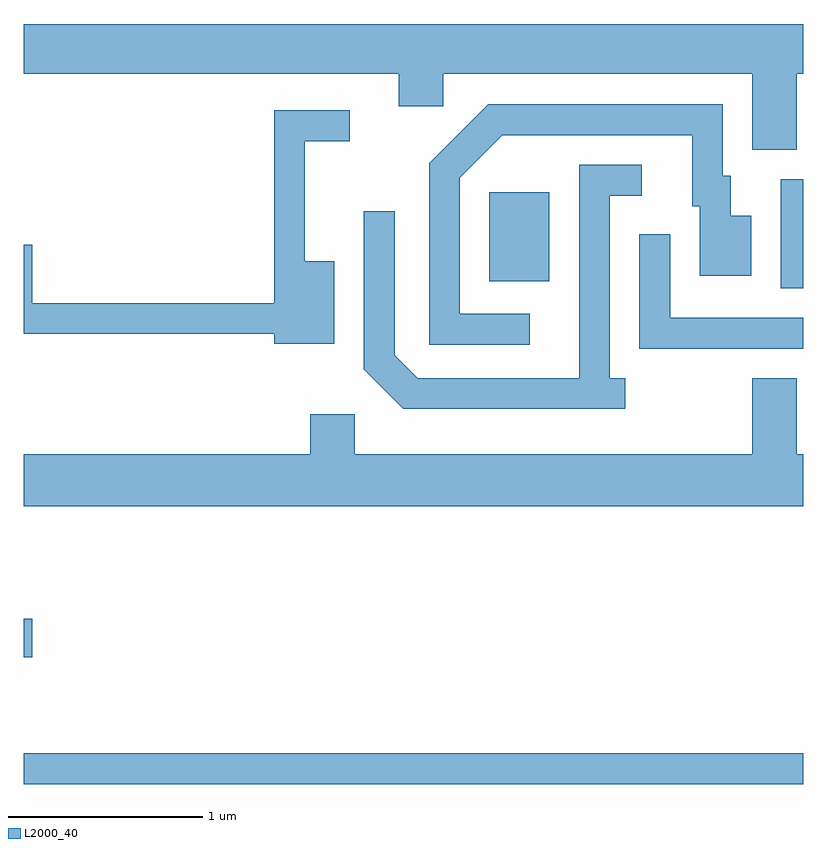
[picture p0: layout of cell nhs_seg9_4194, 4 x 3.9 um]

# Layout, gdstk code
import gdstk
lib = gdstk.Library(unit=1e-6, precision=1e-09)
def R(c, l, rs):  # rectangles x0, y0, x1, y1
    for r in rs: c.add(gdstk.rectangle(r[:2], r[2:], *l))
def P(c, l, *ps):  # polygons
    for p in ps: c.add(gdstk.Polygon(p, *l))
L2000_40 = (2000, 40)

nhs_seg9_4194 = lib.new_cell('nhs_seg9_4194')
R(nhs_seg9_4194, L2000_40, [(307.611,2072.531,311.611,2072.689), (307.611,2073.181,307.654,2073.379), (311.496,2075.076,311.611,2075.634), (310.001,2075.111,310.309,2075.569)])
P(nhs_seg9_4194, L2000_40, [(307.611,2076.176),(309.536,2076.176),(309.536,2076.011),(309.764,2076.011),(309.764,2076.176),(311.351,2076.176),(311.351,2075.786),(311.579,2075.786),(311.579,2076.176),(311.611,2076.176),(311.611,2076.432),(307.611,2076.432)],
  [(310.208,2074.944),(309.849,2074.944),(309.849,2075.644),(310.067,2075.861),(311.041,2075.861),(311.041,2075.496),(311.081,2075.496),(311.081,2075.141),(311.344,2075.141),(311.344,2075.449),(311.239,2075.449),(311.239,2075.654),(311.199,2075.654),(311.199,2076.019),(309.994,2076.019),(309.691,2075.717),(309.691,2074.786),(310.208,2074.786)],
  [(309.204,2075.214),(309.054,2075.214),(309.054,2075.831),(309.283,2075.831),(309.283,2075.989),(308.896,2075.989),(308.896,2074.999),(307.654,2074.999),(307.654,2075.299),(307.611,2075.299),(307.611,2074.841),(308.896,2074.841),(308.896,2074.791),(309.204,2074.791)],
  [(310.698,2074.614),(310.619,2074.614),(310.619,2075.551),(310.783,2075.551),(310.783,2075.709),(310.461,2075.709),(310.461,2074.614),(309.632,2074.614),(309.514,2074.731),(309.514,2075.472),(309.356,2075.472),(309.356,2074.659),(309.559,2074.456),(310.698,2074.456)],
  [(311.611,2074.924),(310.929,2074.924),(310.929,2075.353),(310.771,2075.353),(310.771,2074.766),(311.611,2074.766)],
  [(311.611,2074.224),(311.579,2074.224),(311.579,2074.614),(311.351,2074.614),(311.351,2074.224),(309.309,2074.224),(309.309,2074.429),(309.081,2074.429),(309.081,2074.224),(307.611,2074.224),(307.611,2073.956),(311.611,2073.956)])

lib.write_gds('nhs_seg9_4194.gds')
